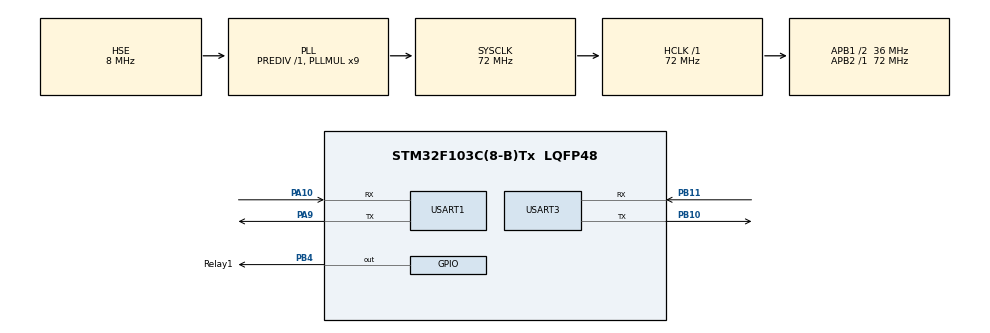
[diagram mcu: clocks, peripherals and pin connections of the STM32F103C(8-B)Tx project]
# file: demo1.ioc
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Dma.Request0=USART1_TX
Dma.Request1=USART3_RX
Dma.USART1_TX.0.Direction=DMA_MEMORY_TO_PERIPH
Dma.USART1_TX.0.Instance=DMA1_Channel4
Dma.USART1_TX.0.MemDataAlignment=DMA_MDATAALIGN_BYTE
Dma.USART1_TX.0.MemInc=DMA_MINC_ENABLE
Dma.USART1_TX.0.Mode=DMA_NORMAL
Dma.USART1_TX.0.PeriphDataAlignment=DMA_PDATAALIGN_BYTE
Dma.USART1_TX.0.PeriphInc=DMA_PINC_DISABLE
Dma.USART1_TX.0.Priority=DMA_PRIORITY_MEDIUM
Dma.USART3_RX.1.Direction=DMA_PERIPH_TO_MEMORY
Dma.USART3_RX.1.Instance=DMA1_Channel3
Dma.USART3_RX.1.MemDataAlignment=DMA_MDATAALIGN_BYTE
Dma.USART3_RX.1.MemInc=DMA_MINC_ENABLE
Dma.USART3_RX.1.Mode=DMA_NORMAL
Dma.USART3_RX.1.PeriphDataAlignment=DMA_PDATAALIGN_BYTE
Dma.USART3_RX.1.PeriphInc=DMA_PINC_DISABLE
Dma.USART3_RX.1.Priority=DMA_PRIORITY_LOW
Mcu.Family=STM32F1
Mcu.Name=STM32F103C(8-B)Tx
Mcu.Package=LQFP48
NVIC.DMA1_Channel3_IRQn=true\:0\:0\:false\:false\:true\:false\:true\:true
NVIC.DMA1_Channel4_IRQn=true\:0\:0\:false\:false\:true\:false\:true\:true
NVIC.PriorityGroup=NVIC_PRIORITYGROUP_4
NVIC.USART1_IRQn=true\:0\:0\:false\:false\:true\:true\:true\:true
NVIC.USART3_IRQn=true\:0\:0\:false\:false\:true\:true\:true\:true
PA10.GPIO_Mode=GPIO_MODE_INPUT
PA10.GPIO_PuPd=GPIO_NOPULL
PA10.Mode=Asynchronous
PA10.Signal=USART1_RX
PA13.Mode=Serial_Wire
PA13.Signal=SYS_JTMS-SWDIO
PA14.Mode=Serial_Wire
PA14.Signal=SYS_JTCK-SWCLK
PA9.Mode=Asynchronous
PA9.Signal=USART1_TX
PB10.Mode=Asynchronous
PB10.Signal=USART3_TX
PB11.GPIO_Mode=GPIO_MODE_INPUT
PB11.GPIO_PuPd=GPIO_NOPULL
PB11.Mode=Asynchronous
PB11.Signal=USART3_RX
PB4.GPIO_Label=Relay1
PB4.Signal=GPIO_Output
PD0-OSC_IN.Mode=HSE-External-Oscillator
PD0-OSC_IN.Signal=RCC_OSC_IN
PD1-OSC_OUT.Mode=HSE-External-Oscillator
PD1-OSC_OUT.Signal=RCC_OSC_OUT
ProjectManager.HeapSize=0x200
ProjectManager.StackSize=0x400
ProjectManager.TargetToolchain=MDK-ARM V5.32
RCC.AHBFreq_Value=72000000
RCC.APB1CLKDivider=RCC_HCLK_DIV2
RCC.APB1Freq_Value=36000000
RCC.APB1TimFreq_Value=72000000
RCC.APB2Freq_Value=72000000
RCC.APB2TimFreq_Value=72000000
RCC.HCLKFreq_Value=72000000
RCC.PLLMUL=RCC_PLL_MUL9
RCC.PLLSourceVirtual=RCC_PLLSOURCE_HSE
RCC.SYSCLKFreq_VALUE=72000000
RCC.SYSCLKSource=RCC_SYSCLKSOURCE_PLLCLK
RCC.USBFreq_Value=72000000
USART1.VirtualMode=VM_ASYNC
USART3.VirtualMode=VM_ASYNC
board=custom

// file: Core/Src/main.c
/* USER CODE BEGIN Header */
/**
  ******************************************************************************
  * @file           : main.c
  * @brief          : Main program body
  ******************************************************************************
  * @attention
  *
  * Copyright (c) 2024 STMicroelectronics.
  * All rights reserved.
  *
  * This software is licensed under terms that can be found in the LICENSE file
  * in the root directory of this software component.
  * If no LICENSE file comes with this software, it is provided AS-IS.
  *
  ******************************************************************************
  */
/* USER CODE END Header */
#include "main.h"
#include "dma.h"
#include "usart.h"
#include "gpio.h"

/* USER CODE BEGIN Includes */
#include "circle_buffer.h"
#include "Relay.h"
#include "ESP8266.h"
#include <stdio.h>
#include <string.h>
#define CLIENT_ID 1
//char cmd_raw[50]={0};
//char cmd_filter[50]={0};
/* USER CODE END Includes */

void SystemClock_Config(void);

/* USER CODE BEGIN 0 */
char buffer_mcuuart[200]={0};
volatile uint8_t client_id=0;
uint8_t flag_1=2;
uint8_t *p_tmp_cmd=NULL;
volatile uint8_t flag_2=0;//usart3???????
char buffer_tmp_cmd_raw[100]={0};//?????mcu??
uint8_t flag_3=0;
uint8_t length_uart=0;
/* USER CODE END 0 */

int main(void)
{

  /* MCU Configuration--------------------------------------------------------*/

  /* Reset of all peripherals, Initializes the Flash interface and the Systick. */
  HAL_Init();

  /* Configure the system clock */
  SystemClock_Config();

  /* Initialize all configured peripherals */
  MX_GPIO_Init();
  MX_DMA_Init();
  MX_USART1_UART_Init();
  MX_USART3_UART_Init();
  /* USER CODE BEGIN 2 */
  Relay_init();
  //HAL_UART_Transmit(&huart1,(const uint8_t *)"AT+RESTORE\r\n",13,2);
  //HAL_NVIC_SetPriority(SysTick_IRQn, 0, 0);
  //HAL_NVIC_SetPriority(USART1_IRQn, 1, 0);
  UART1_IDLE_INIT();
  circle_buf_init(&g_cmd,50,g_buf_cmd);
  Release_uart_bus();
  HAL_Delay(500);
  if(ESP8266_Client_init()!=0)
  {
    // printf("ESP8266 init Fail!!!");
  }
  else
  {
    // printf("ESP8266 init success!!!");
  }
  /* USER CODE END 2 */
  // HAL_GPIO_WritePin(GPIOB,GPIO_PIN_4,GPIO_PIN_SET);
  /* Infinite loop */
  while (1)
  {

    /* USER CODE BEGIN 3 */
    process_ESP_data();
  }
  /* USER CODE END 3 */
}

void SystemClock_Config(void)
{
  RCC_OscInitTypeDef RCC_OscInitStruct = {0};
  RCC_ClkInitTypeDef RCC_ClkInitStruct = {0};

  /** Initializes the RCC Oscillators according to the specified parameters
  * in the RCC_OscInitTypeDef structure.
  */
  RCC_OscInitStruct.OscillatorType = RCC_OSCILLATORTYPE_HSE;
  RCC_OscInitStruct.HSEState = RCC_HSE_ON;
  RCC_OscInitStruct.HSEPredivValue = RCC_HSE_PREDIV_DIV1;
  RCC_OscInitStruct.HSIState = RCC_HSI_ON;
  RCC_OscInitStruct.PLL.PLLState = RCC_PLL_ON;
  RCC_OscInitStruct.PLL.PLLSource = RCC_PLLSOURCE_HSE;
  RCC_OscInitStruct.PLL.PLLMUL = RCC_PLL_MUL9;
  if (HAL_RCC_OscConfig(&RCC_OscInitStruct) != HAL_OK)
  {
    Error_Handler();
  }

  /** Initializes the CPU, AHB and APB buses clocks
  */
  RCC_ClkInitStruct.ClockType = RCC_CLOCKTYPE_HCLK|RCC_CLOCKTYPE_SYSCLK
                              |RCC_CLOCKTYPE_PCLK1|RCC_CLOCKTYPE_PCLK2;
  RCC_ClkInitStruct.SYSCLKSource = RCC_SYSCLKSOURCE_PLLCLK;
  RCC_ClkInitStruct.AHBCLKDivider = RCC_SYSCLK_DIV1;
  RCC_ClkInitStruct.APB1CLKDivider = RCC_HCLK_DIV2;
  RCC_ClkInitStruct.APB2CLKDivider = RCC_HCLK_DIV1;

  if (HAL_RCC_ClockConfig(&RCC_ClkInitStruct, FLASH_LATENCY_2) != HAL_OK)
  {
    Error_Handler();
  }
}

/* USER CODE BEGIN 4 */

int findSubArray(const char *array, size_t array_len, const char *subarray, size_t subarray_len)
{
  if (subarray_len == 0 || array_len < subarray_len) {
        return -1;
    }

    for (size_t i = 0; i <= array_len - subarray_len; ++i) {
        size_t j;
        for (j = 0; j < subarray_len; ++j) {
            if (array[i + j] != subarray[j]) {
                break;
            }
        }
        if (j == subarray_len) {
            return 0; //  ?????
        }
    }
    return -1;

}

char* my_strchr(char *str,char c)
{

  while(*str!='\0')
  {
    if(c == *str)
    {
      return str;
    }
    str++;
  }
  if(*str == c)
  {
    return str;
  }
  return NULL;
}

uint8_t get_ClientID(char *p)
{
  uint8_t id =0;
  uint8_t *ptr =NULL;
  ptr = my_strchr(p,',');
  ptr++;
  if(ptr!=NULL)
  {
    id = *ptr;
  }
  return id-48 ;
}

void my_strcpy(char *dest,char *src)
{
  while(*src!='\0')
  {
    *dest++ = *src++;
  }
  *dest = '\0';
}

void process_ESP_data(void)
{
  char cmd_raw[50]={0};
  char cmd_filter[50]={};
  uint8_t lenth = 0;
  char *p;

  Waitfor_RX_COMPLT();

  while(g_cmd.r != g_cmd.w)
  {
    circle_buf_read(&g_cmd,(uint8_t *)&cmd_raw[lenth++]);
    HAL_UARTEx_ReceiveToIdle_IT(&huart1,buf_rx,50);
  }

  if(strstr(cmd_raw,"IPD,")!=NULL)
  {
    client_id = get_ClientID(cmd_raw);
    p = strchr(cmd_raw,':');
    p++;
    my_strcpy(cmd_filter,p);
    handle_cmd((uint8_t *)cmd_filter);
  }

}

void KL15OFF()
{
  flag_1=1;
  HAL_UART_Transmit(&huart3,"poweroff\r\n",strlen("poweroff\r\n"),10);

  #if CLIENT_ID
  ESP_sendata_ID(strlen("KL15 OFF trigger,pls waiting for MCU shutdown...\r\n\r\n"),"KL15 OFF trigger,pls waiting for MCU shutdown...\r\n\r\n");
  #else
  ESP_sendata(strlen("KL15 OFF trigger,pls waiting for MCU shutdown...\r\n"),"KL15 OFF trigger,pls waiting for MCU shutdown...\r\n");
  #endif

  Relay_close_NO();
  HAL_UARTEx_ReceiveToIdle_IT(&huart3,buffer_mcuuart,200);
  // HAL_UARTEx_ReceiveToIdle_IT(&huart1,buf_rx,50); //?�????�?

}

void handle_cmd(uint8_t *cmd)
{
  #if DEBUG
  //printf("receive CMD is[%s]",cmd);
  #endif
  if(strncmp((const char *)cmd,"poweron",strlen("poweron"))==0)//??MCU
  {

    // printf("MCU wakeup\r\n");
    //HAL_UART_Transmit(&huart1,"AT+CIPSEND=0,40\r\n",strlen("AT+CIPSEND=0,40\r\n"),2);
    //HAL_UARTEx_ReceiveToIdle_IT(&huart1,buf_rx,50);
    //HAL_Delay(10);
    HAL_UART_Transmit(&huart3,"poweron\r\n",sizeof("poweron\r\n"),10);
    Release_uart_bus(&huart3);
    //HAL_UART_Transmit(&huart1,"Already poweron!pls waiting few sec...\r\n",strlen("Already poweron!pls waiting few sec...\r\n"),2);
    #if CLIENT_ID
    ESP_sendata_ID(strlen("[LOG]:MCU already poweron\r\n\r\n"),"[LOG]:MCU already poweron\r\n\r\n");
    #else
    ESP_sendata(strlen("[LOG]:MCU already poweron\r\n"),"[LOG]:MCU already poweron\r\n");
    #endif

    //HAL_UART_Transmit(&huart1,"[LOG]:MCU already poweron\r\n",strlen("[LOG]:MCU already poweron\r\n"),2);
    HAL_UARTEx_ReceiveToIdle_IT(&huart1,buf_rx,50);

  }
  else if (strncmp((const char *)cmd,"switchon ADCU",strlen("switchon ADCU"))==0)//????
  {
    // printf("ADC switch on\r\n");
    Relay_close_NC();
    //HAL_UART_Transmit(&huart1,"AT+CIPSEND=0,21\r\n",strlen("AT+CIPSEND=0,21\r\n"),2);
    //HAL_UARTEx_ReceiveToIdle_IT(&huart1,buf_rx,50);
    //HAL_Delay(10);
    //HAL_UART_Transmit(&huart1,"[LOG]:switchon ADCU\r\n",strlen("[LOG]:switchon ADCU\r\n"),2);
    #if CLIENT_ID
    ESP_sendata_ID(strlen("[LOG]:switchon ADCU successfully!waiting for SOC wakeup...\r\n\r\n"),"[LOG]:switchon ADCU successfully!waiting for SOC wakeup...\r\n\r\n");
    #else
    ESP_sendata(strlen("[LOG]:switchon ADCU successfully!\r\n"),"[LOG]:switchon ADCU successfully!\r\n");
    #endif
    //HAL_UART_Transmit(&huart1,"[LOG]:switchon ADCU\r\n",strlen("[LOG]:switchon ADCU\r\n"),2);
    HAL_UARTEx_ReceiveToIdle_IT(&huart1,buf_rx,50);
    Reinit_UART_bus(&huart3);
    HAL_Delay(3000);
    HAL_UART_Transmit(&huart3,"poweron\r\n",strlen("poweron\r\n"),2);
    ESP_sendata_ID(strlen("[LOG]:SOC wakeup signal sending...\r\n\r\n"),"[LOG]:SOC wakeup signal sending...\r\n\r\n");
    Release_uart_bus(&huart3);

  }
  else if (strncmp((const char *)cmd,"switchoff ADCU",strlen("switchoff ADCU"))==0)//????
  {
    // printf("ADC switch off\r\n");

    Relay_close_NO();
    ESP_sendata_ID(strlen("[LOG]:switchoff ADCU successfully!\r\n\r\n"),"[LOG]:switchoff ADCU successfully!\r\n\r\n");
    // KL15OFF();  //KL15??

    // ESP_sendata(strlen("[LOG]:switchoff ADCU successfully!\r\npls wait for more than 10s for power discharge before turning on")+1,"[LOG]:switchoff ADCU successfully!\r\npls wait for more than 10s for power discharge before turning on");
    //HAL_UART_Transmit(&huart1,"[LOG]:switchoff ADCU\r\n",strlen("[LOG]:switchoff ADCU\r\n"),2);
    //HAL_UARTEx_ReceiveToIdle_IT(&huart1,buf_rx,50);
  }
  else if(strncmp((const char *)cmd,"\r\n",strlen("\r\n"))==0)
  {
  ESP_sendata_ID(strlen("\r\n"),"\r\n");
  }
  // else if(strncmp((const char *)cmd,"soc uart debug",strlen("soc uart debug"))==0)//??debug????
  // {
  //   //circle??buffer???
  //   uint8_t flag_exit=0;
  //   uint16_t i=0;
  //   flag_1=0;
  //   __HAL_UART_DISABLE_IT(&huart1,UART_IT_IDLE);
  //   __HAL_UART_DISABLE_IT(&huart3,UART_IT_IDLE);
  //   ESP_sendata_ID(strlen("[LOG]:debug mode on!\r\n\r\n"),"[LOG]:debug mode on!\r\n\r\n");

  //   HAL_UARTEx_ReceiveToIdle_DMA(&huart3,buffer_tmp,2048);//dma+idle
  //   __HAL_DMA_DISABLE_IT(&hdma_usart3_rx, DMA_IT_HT);

  //   // circle_buf_init(&buf_rxfrom_usart3,512,buffer_usart3);

  //   // HAL_UARTEx_ReceiveToIdle_IT(&huart3,buffer_tmp,512);

  //   for(;;)
  //   {
  //     // char buffer_1[512]={0};
  //     while(flag_2==0)//????3????
  //     {
  //       if(flag_3)
  //       {
  //         if(strncmp((const char *)p_tmp_cmd,"exit()",strlen("exit()"))==0)
  //         {
  //           flag_1=1;
  //           flag_exit=1;
  //           break;
  //         }
  //         else if(flag_3==2)
  //         {
  //           HAL_UART_Transmit(&huart3,(const uint8_t*)p_tmp_cmd,length_uart,10);
  //         }
  //         flag_3=0;
  //       }

  //     }
  //     if(flag_exit)
  //     {
  //       flag_exit=0;
  //       flag_3=0;
  //       ESP_sendata_ID(strlen("[LOG]:debug mode off!\r\n\r\n"),"[LOG]:debug mode off!\r\n\r\n");
  //       break;
  //     }

  //     //DMA+IDLE
  //     // HAL_Delay(10);
  //     // printf("[log]:just a test");
  //     // if(flag_dma==0)
  //     // {
  //     //   HAL_UART_Transmit_DMA(&huart1,buffer_sendata,length_data);
  //     // }
  //     HAL_UART_Transmit_DMA(&huart1,buffer_tmp,length_data);
  //     // printf("[log]just a test");
  //     HAL_UARTEx_ReceiveToIdle_DMA(&huart3,buffer_tmp,2048);
  //     __HAL_DMA_DISABLE_IT(&hdma_usart3_rx, DMA_IT_HT);
  //     //DMA+IDLE

  //     //IDLE
  //     // while(buf_rxfrom_usart3.r!=buf_rxfrom_usart3.w)
  //     // {
  //     //   circle_buf_read(&buf_rxfrom_usart3,&buffer_1[i++]);

  //     // }
  //     // ESP_sendata_ID(i,buffer_1);
  //     // i=0;
  //     //IDLE
  //     flag_2=0;
  //   }

  // }
  else
  {
    #if CLIENT_ID
    ESP_sendata_ID(strlen("[WARNING]:invalid cmd!!!\r\n\r\n"),"[WARNING]:invalid cmd!!!\r\n\r\n");
    #else
    ESP_sendata(strlen("[WARNING]:invalid cmd!!!\r\n"),"[WARNING]:invalid cmd!!!\r\n");
    #endif

    //HAL_UART_Transmit(&huart1,"[WARNING]:invalid cmd!!!\r\n",strlen("[WARNING]:invalid cmd!!!\r\n"),2);
    HAL_UARTEx_ReceiveToIdle_IT(&huart1,buf_rx,50);

  }

}

int fputc(int ch, FILE *f) {
    HAL_UART_Transmit(&huart3, (uint8_t *)&ch, 1, HAL_MAX_DELAY);
    return ch;
}
/* USER CODE END 4 */

void Error_Handler(void)
{
  __disable_irq();
  while (1)
  {
  }
}
